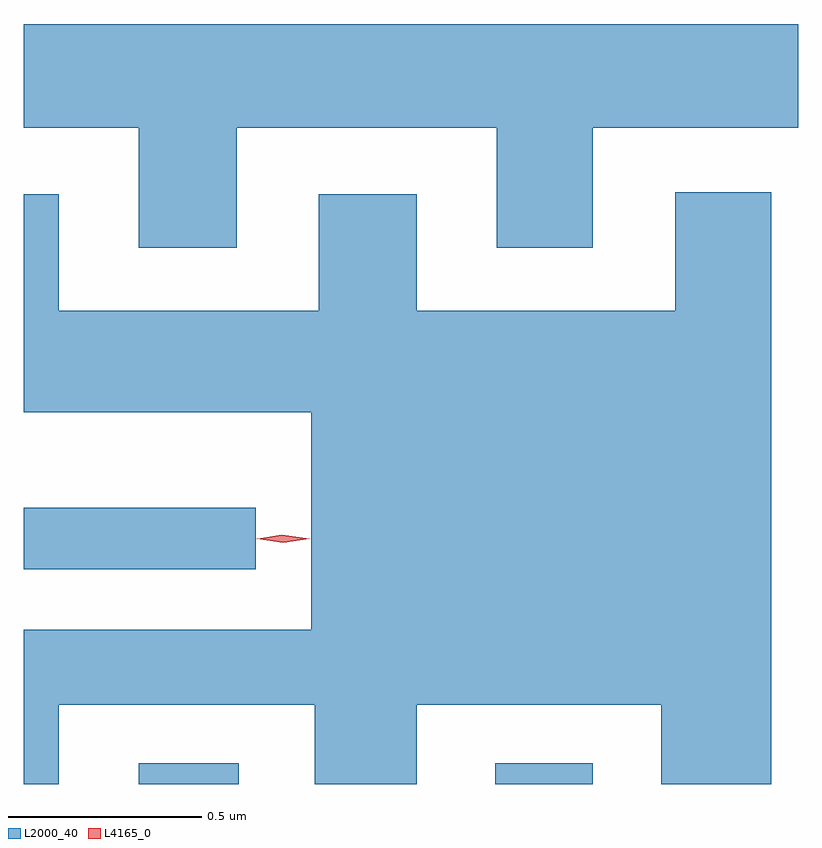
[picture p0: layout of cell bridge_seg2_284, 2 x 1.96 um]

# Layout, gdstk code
import gdstk
lib = gdstk.Library(unit=1e-6, precision=1e-09)
def R(c, l, rs):  # rectangles x0, y0, x1, y1
    for r in rs: c.add(gdstk.rectangle(r[:2], r[2:], *l))
def P(c, l, *ps):  # polygons
    for p in ps: c.add(gdstk.Polygon(p, *l))
L2000_40 = (2000, 40)
L4165_0 = (4165, 0)

bridge_seg2_284 = lib.new_cell('bridge_seg2_284')
R(bridge_seg2_284, L2000_40, [(638.356,1064.381,638.614,1064.434), (639.276,1064.381,639.529,1064.434), (638.059,1064.936,638.658,1065.094)])
P(bridge_seg2_284, L2000_40, [(638.609,1066.076),(639.281,1066.076),(639.281,1065.766),(639.529,1065.766),(639.529,1066.076),(640.059,1066.076),(640.059,1066.344),(638.059,1066.344),(638.059,1066.076),(638.356,1066.076),(638.356,1065.766),(638.609,1065.766)],
  [(638.149,1064.586),(638.811,1064.586),(638.811,1064.381),(639.074,1064.381),(639.074,1064.586),(639.706,1064.586),(639.706,1064.381),(639.989,1064.381),(639.989,1065.909),(639.741,1065.909),(639.741,1065.604),(639.074,1065.604),(639.074,1065.904),(638.821,1065.904),(638.821,1065.604),(638.149,1065.604),(638.149,1065.904),(638.059,1065.904),(638.059,1065.341),(638.801,1065.341),(638.801,1064.779),(638.059,1064.779),(638.059,1064.381),(638.149,1064.381)])
P(bridge_seg2_284, L4165_0, [(638.729,1065.004),(638.66,1065.014),(638.659,1065.014),(638.66,1065.014),(638.729,1065.024),(638.797,1065.014),(638.798,1065.014),(638.797,1065.014)],
  [(638.725,1065.005),(638.663,1065.014),(638.663,1065.015),(638.663,1065.015),(638.725,1065.025),(638.788,1065.016),(638.788,1065.015),(638.788,1065.015)])

lib.write_gds('bridge_seg2_284.gds')
